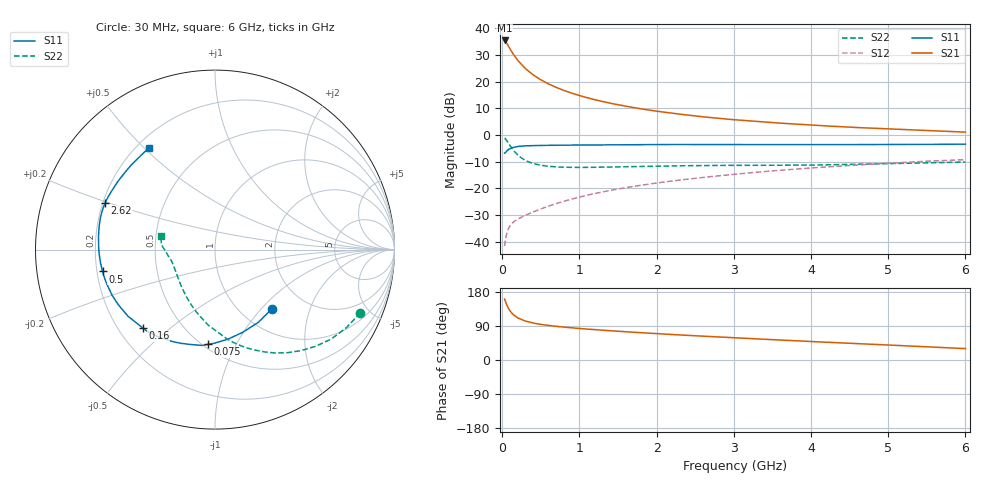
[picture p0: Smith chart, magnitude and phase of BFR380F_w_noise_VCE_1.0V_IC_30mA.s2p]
! Infineon Technologies  Discrete & RF Semiconductors
! BFR380F
! VCE =  1.0 V,  IC =  30 mA
! Common Emitter S-Parameters:  Nov 2015
# GHz  S  MA  R  50
!  f  S11  S21  S12  S22
! GHz  MAG  ANG  MAG  ANG  MAG  ANG  MAG  ANG
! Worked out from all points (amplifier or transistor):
!   206 points, 30 MHz to 6 GHz, reference 50 ohm
!   highest |S21| = 35.4 dB at 30 MHz (marker M1)
!   |S21| within 3 dB of that: start of sweep to 97.18 MHz
!   unconditionally stable (mu >= 1): 930.8 MHz to end of sweep
!   at 200 MHz: K = 0.52, MSG = 29.7 dB, |S12| = -31.5 dB
!   at 1.56 GHz: K = 1.05, MAG = 14.1 dB, |S12| = -19.9 dB
!   at 6 GHz: K = 1.01, MAG = 4.7 dB, |S12| = -9.2 dB
!   lowest NFmin = 1.22 dB at 900 MHz
!   S11 on the Smith chart (normalised r, x): 30 MHz: 1.36, -1.15; 75 MHz: 0.53, -0.78; 160 MHz: 0.30, -0.40; 500 MHz: 0.22, -0.09; 2.62 GHz: 0.21, +0.19; 6 GHz: 0.25, +0.52
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0.03  0.4579 -46.5  58.91 160.7  0.0083 75.7  0.8831 -23.5
0.04  0.4718 -59.3  56.7 154.8  0.0108 71.7  0.8518 -30.7
0.05  0.4862 -71.6  54.32 149.1  0.0129 66.3  0.8171 -37.6
0.07  0.5217 -90.4  48.73 140.0  0.0163 61.3  0.7393 -49.6
0.075  0.5291 -94.2  47.39 138.2  0.017 60.1  0.7202 -52.1
0.1  0.556 -110.1  41.04 129.7  0.0199 55.0  0.634 -64.1
0.12  0.5715 -119.6  36.73 124.5  0.0217 52.8  0.5755 -72.1
0.145  0.589 -128.7  32.28 119.3  0.0235 50.8  0.5156 -80.4
0.16  0.5937 -132.8  30.13 117.1  0.0244 50.4  0.4869 -84.2
0.2  0.6105 -142.5  24.98 111.1  0.0266 49.7  0.4231 -95.0
0.24  0.6176 -148.8  21.51 107.4  0.0286 50.2  0.3798 -102.9
0.3  0.6271 -156.1  17.5 102.6  0.0315 51.6  0.3346 -113.4
0.4  0.6338 -163.8  13.36 97.5  0.0363 54.7  0.2934 -126.0
0.5  0.6383 -169.0  10.78 93.9  0.0414 57.5  0.2715 -135.4
0.7  0.6442 -175.9  7.766 88.8  0.0521 61.8  0.2531 -148.0
1.04  0.6498 176.6  5.272 82.5  0.0712 65.6  0.2475 -159.8
2.02  0.6635 163.3  2.77 69.4  0.1276 67.4  0.2618 -171.7
2.62  0.665 157.0  2.176 62.6  0.1618 66.2  0.2685 -174.9
3.1  0.6632 152.6  1.888 57.9  0.1897 64.7  0.2707 -176.1
4.1  0.6605 142.5  1.507 47.8  0.247 60.3  0.2748 -178.4
5.1  0.6639 133.0  1.283 38.6  0.3014 55.4  0.2938 176.2
6  0.6757 123.1  1.133 30.1  0.3457 49.8  0.3118 166.2
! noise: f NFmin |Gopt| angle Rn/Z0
0.45  1.25  0.3  -178  0.08
0.9  1.22  0.33  -179  0.07
1.8  1.42  0.4  -168  0.08
1.9  1.5  0.41  -169  0.08
2.4  1.57  0.43  -159  0.1
3.5  2.16  0.5  -149  0.15
